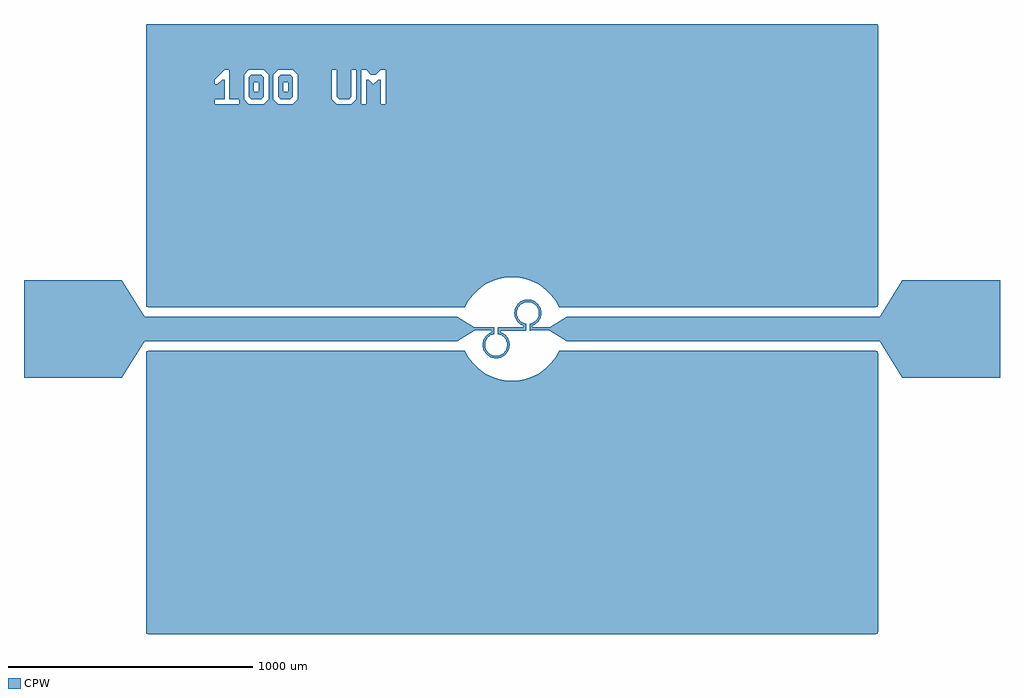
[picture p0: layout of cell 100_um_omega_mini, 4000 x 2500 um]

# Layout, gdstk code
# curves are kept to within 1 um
import gdstk
lib = gdstk.Library(unit=1e-6, precision=1e-09)
def R(c, l, rs):  # rectangles x0, y0, x1, y1
    for r in rs: c.add(gdstk.rectangle(r[:2], r[2:], *l))
def P(c, l, *ps):  # polygons
    for p in ps: c.add(gdstk.Polygon(p, *l))
CPW = (1, 0)

text_3 = lib.new_cell('TEXT$3')

c_100_um_omega_mini = lib.new_cell('100_um_omega_mini')
R(c_100_um_omega_mini, CPW, [(-2000,-200,-1600,200), (1600,-200,2000,200), (-2000,-50,-225,50), (225,-50,2000,50)])
P(c_100_um_omega_mini, CPW, [(1600,-200),(1500,-40),(1500,40),(1600,200)],
  [(-1490.491,-1250),(-1496.724,-1247.418),(-1500,-1240.491),(-1500,-99.509),(-1498.042,-94.036),(-1493.373,-90.573),(-193.631,-90),(-170.887,-126.739),(-157.642,-142.878),(-142.878,-157.642),(-126.739,-170.887),(-109.379,-182.487),(-90.965,-192.329),(-71.675,-200.319),(-51.696,-206.38),(-31.218,-210.454),(-10.439,-212.5),(10.439,-212.5),(31.218,-210.454),(51.696,-206.38),(71.675,-200.319),(90.965,-192.329),(109.379,-182.487),(126.739,-170.887),(142.878,-157.642),(157.642,-142.878),(170.887,-126.739),(193.631,-90),(1490.491,-90),(1495.964,-91.958),(1499.427,-96.627),(1500,-1240.491),(1498.042,-1245.964),(1493.373,-1249.427)],
  [(-1600,-200),(-1600,200),(-1500,40),(-1500,-40)],
  [(-225,-50),(-225,50),(-155,7.5),(-155,-7.5)],
  [(225,-50),(155,-7.5),(155,7.5),(225,50)],
  [(-67.702,-120),(-78.38,-118.416),(-88.544,-114.779),(-101.98,-105.801),(-112.232,-93.31),(-116.847,-83.551),(-119.47,-73.08),(-120,-62.298),(-118.416,-51.62),(-112.232,-36.69),(-105.801,-28.02),(-97.803,-20.77),(-82.672,-12.683),(-82.975,-8.268),(-210.735,-7.452),(-213.709,-5.862),(-215,-2.746),(-214.856,3.716),(-212.14,7.025),(-74.018,6.521),(-72,2.746),(-72.035,-20.381),(-88.163,-26.356),(-101.188,-38.161),(-107.421,-49.822),(-110,-67.211),(-105.729,-84.263),(-98.383,-95.257),(-84.263,-105.729),(-67.211,-110),(-49.822,-107.421),(-34.743,-98.383),(-24.271,-84.263),(-20,-67.211),(-22.579,-49.822),(-28.812,-38.161),(-41.837,-26.356),(-57.965,-20.381),(-58,2.746),(-56.709,5.862),(-53.246,7.5),(44.897,7.5),(47.69,9.366),(47.328,13.183),(32.197,21.27),(20.77,32.697),(13.153,46.949),(10,62.798),(11.584,78.88),(15.221,89.044),(20.77,98.303),(32.197,109.73),(46.449,117.347),(56.92,119.97),(67.702,120.5),(78.38,118.916),(88.544,115.279),(97.803,109.73),(105.801,102.48),(112.232,93.81),(116.847,84.051),(119.47,73.58),(120,62.798),(118.416,52.12),(114.779,41.956),(109.23,32.697),(101.98,24.699),(93.31,18.268),(82.529,13.04),(83.317,8.139),(210.246,7.5),(214.525,4.64),(214.713,-4.186),(210.246,-7.5),(74.426,-6.794),(72,-2.746),(72.021,20.848),(84.263,24.771),(91.839,29.312),(103.644,42.337),(109.567,58.889),(108.704,76.447),(105.729,84.763),(98.383,95.757),(84.263,106.229),(67.211,110.5),(58.389,110.067),(45.737,106.229),(34.743,98.883),(24.271,84.763),(20.433,72.111),(20.433,58.889),(24.271,46.237),(31.617,35.243),(41.837,26.856),(57.948,20.912),(57.525,-4.64),(53.246,-7.5),(-47.025,-8.268),(-47.328,-12.683),(-32.197,-20.77),(-24.199,-28.02),(-17.768,-36.69),(-11.584,-51.62),(-10,-62.298),(-10.53,-73.08),(-13.153,-83.551),(-17.768,-93.31),(-24.199,-101.98),(-32.197,-109.23),(-41.456,-114.779),(-51.62,-118.416)],
  [(-1490.491,90),(-1496.724,92.582),(-1500,99.509),(-1500,1062.081),(-1177.893,1062.081),(-1217.893,1022.081),(-1217.893,1002.081),(-1207.893,1002.081),(-1187.893,1022.081),(-1177.893,1022.081),(-1177.893,942.081),(-1217.893,942.081),(-1217.893,922.081),(-1117.893,922.081),(-1117.893,942.081),(-1157.893,942.081),(-1157.893,1062.081),(-1077.893,1062.081),(-1097.893,1042.081),(-1097.893,942.081),(-1077.893,922.081),(-1017.893,922.081),(-997.893,942.081),(-997.893,1042.081),(-1017.893,1062.081),(-957.893,1062.081),(-977.893,1042.081),(-977.893,942.081),(-957.893,922.081),(-897.893,922.081),(-877.893,942.081),(-877.893,1042.081),(-897.893,1062.081),(-657.893,1062.081),(-657.893,952.081),(-667.893,942.081),(-707.893,942.081),(-717.893,952.081),(-717.893,1062.081),(-737.893,1062.081),(-737.893,942.081),(-717.893,922.081),(-657.893,922.081),(-637.893,942.081),(-637.893,1062.081),(-537.893,1062.081),(-557.893,1042.081),(-577.893,1042.081),(-597.893,1062.081),(-617.893,1062.081),(-617.893,922.081),(-597.893,922.081),(-597.893,1022.081),(-587.893,1022.081),(-567.893,1002.081),(-547.893,1022.081),(-537.893,1022.081),(-537.893,922.081),(-517.893,922.081),(-517.893,1062.081),(-1500,1062.081),(-1500,1240.491),(-1498.042,1245.964),(-1493.373,1249.427),(1490.491,1250),(1495.964,1248.042),(1499.427,1243.373),(1500,99.509),(1498.042,94.036),(1493.373,90.573),(193.631,90),(170.887,126.739),(157.642,142.878),(142.878,157.642),(126.739,170.887),(109.379,182.487),(90.965,192.329),(71.675,200.319),(51.696,206.38),(31.218,210.454),(10.439,212.5),(-10.439,212.5),(-31.218,210.454),(-51.696,206.38),(-71.675,200.319),(-90.965,192.329),(-109.379,182.487),(-126.739,170.887),(-142.878,157.642),(-157.642,142.878),(-170.887,126.739),(-193.631,90)],
  [(-1067.893,942.081),(-1077.893,952.081),(-1077.893,1012.081),(-1057.893,1012.081),(-1057.893,972.081),(-1037.893,972.081),(-1037.893,1012.081),(-1077.893,1012.081),(-1077.893,1032.081),(-1067.893,1042.081),(-1027.893,1042.081),(-1017.893,1032.081),(-1017.893,952.081),(-1027.893,942.081)],
  [(-947.893,942.081),(-957.893,952.081),(-957.893,1012.081),(-937.893,1012.081),(-937.893,972.081),(-917.893,972.081),(-917.893,1012.081),(-957.893,1012.081),(-957.893,1032.081),(-947.893,1042.081),(-907.893,1042.081),(-897.893,1032.081),(-897.893,952.081),(-907.893,942.081)])
c_100_um_omega_mini.add(gdstk.Reference(text_3, (-1217.893,922.081)))

lib.write_gds('100_um_omega_mini.gds')
